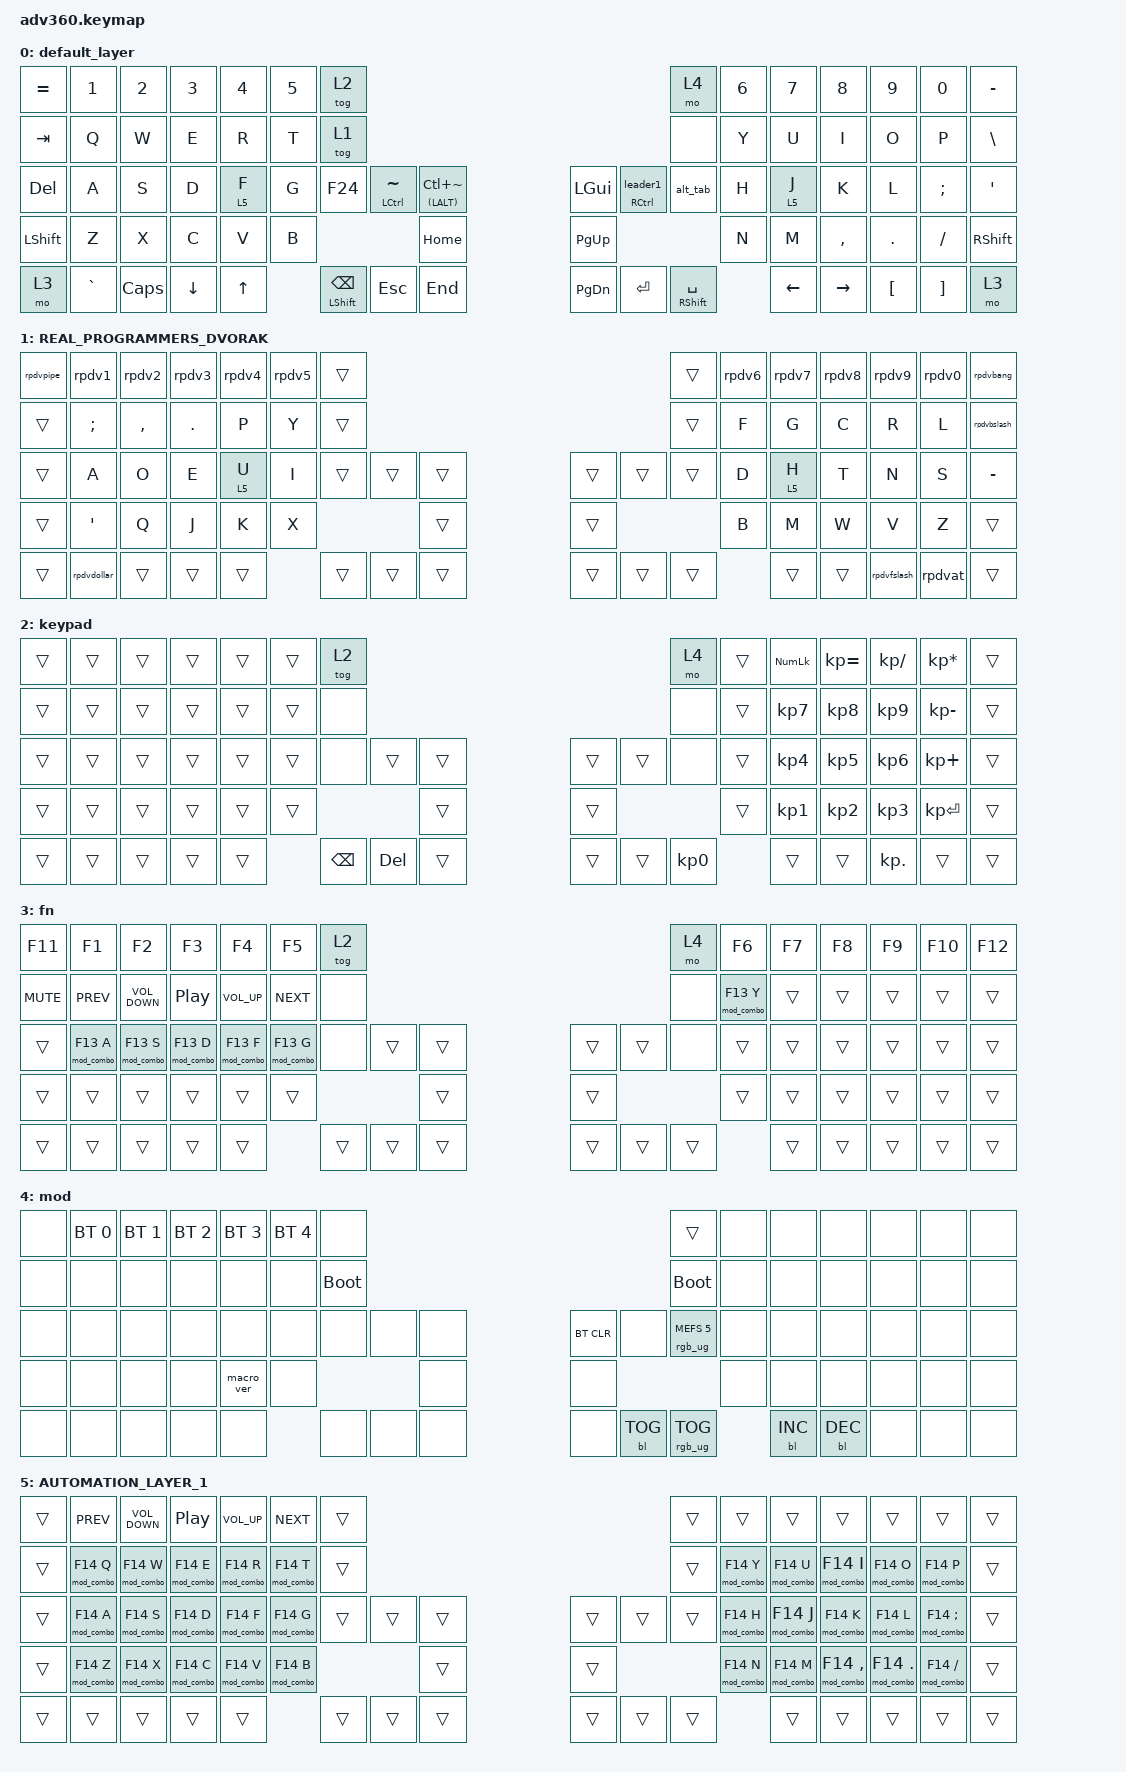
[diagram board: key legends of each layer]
#include <dt-bindings/zmk/stp.h>
#include <behaviors.dtsi>
#include <dt-bindings/zmk/backlight.h>
#include <dt-bindings/zmk/bt.h>
#include <dt-bindings/zmk/keys.h>
#include <dt-bindings/zmk/rgb.h>

/* DEFINES FOR ADV360 KEY POSITIONS */

#define KEYS_L 0 1 2 3 4 5 6 14 15 16 17 18 19 20 28 29 30 31 32 33 34 46 47 48 49 50 51 52 60 61 62 63 64
#define KEYS_R 7 8 9 10 11 12 13 21 22 23 24 25 26 27 35 36 37 38 39 40 41 53 54 55 56 57 58 59 71 72 73 74 75
#define THUMBS 65 66 67 68 69 70

/ {
    behaviors {
        #include "macros.dtsi"
      #include "version.dtsi"
      #ifndef VERSION_MACRO

        macro_ver: macro_ver {
            compatible = "zmk,behavior-macro";
            label = "macro_version";
            #binding-cells = <0>;
            bindings = <&kp RET>;
        };

        #endif = /* Mod Combo (to use e.g. F13-F24 as modifiers) */;

        mod_combo: mod_combo {
            compatible = "zmk,behavior-macro-two-param";
            label = "MOD_COMBO";
            #binding-cells = <2>;
            wait-ms = <0>;
            tap-ms = <0>;
            bindings =
                <&macro_param_1to1>,
                <&macro_press>,
                <&kp MACRO_PLACEHOLDER &macro_param_2to1>,
                <&macro_tap>,
                <&kp MACRO_PLACEHOLDER>,
                <&macro_pause_for_release>,
                <&macro_param_1to1>,
                <&macro_release>,
                <&kp MACRO_PLACEHOLDER>;
        };

        /* Leader 1 Implementation */
        /* Leader 1 Key */

        leader1: leader1 {
            compatible = "zmk,behavior-leader-key";
            #binding-cells = <0>;

            l1_us {
                sequence = <U S>;
                bindings = <&l1_2layer U S>;
            };
        };

        /* Leader 1 Mod Tap */

        l1_mt: leader1_mod_tap {
            compatible = "zmk,behavior-hold-tap";
            label = "LEADER1_MOD_TAP";
            #binding-cells = <2>;
            flavor = "hold-preferred";
            tapping-term-ms = <200>;
            bindings = <&kp>, <&leader1>;
        };

        l1_2layer: l1_2layer {
            compatible = "zmk,behavior-macro-two-param";
            label = "L1_2LAYER";
            #binding-cells = <2>;
            wait-ms = <0>;
            tap-ms = <0>;
            bindings =
                <&macro_press>,
                <&kp F16 &macro_param_1to1>,
                <&macro_press>,
                <&kp MACRO_PLACEHOLDER &macro_param_2to1>,
                <&macro_tap>,
                <&kp MACRO_PLACEHOLDER>,
                <&macro_pause_for_release>,
                <&macro_param_1to1>,
                <&macro_release>,
                <&kp MACRO_PLACEHOLDER>,
                <&macro_release>,
                <&kp F16>;
        };

        alt_tab: alt_tab {
            compatible = "zmk,behavior-macro";
            #binding-cells = <0>;
            label = "ALT_TAB";
            wait-ms = <30>;
            tap-ms = <30>;
            bindings =
                <&macro_press>,
                <&kp LALT>,
                <&macro_tap>,
                <&kp TAB>,
                <&macro_pause_for_release>,
                <&macro_release>,
                <&kp LALT>;
        };

        /* Generic Tap-Preferred Hold-Tap */

        tp: tap_preferred {
            compatible = "zmk,behavior-hold-tap";
            label = "TAP_PREFERRED";
            #binding-cells = <2>;
            flavor = "tap-preferred";
            tapping-term-ms = <200>;
            quick-tap-ms = <175>;
            bindings = <&kp>, <&kp>;
        };

        /* Urob's Timeless Homerow Mods */
        /* https://github.com/urob/zmk-config?tab=readme-ov-file#timeless-homerow-mods */

        hml: homerow_mods_left {
            compatible = "zmk,behavior-hold-tap";
            label = "HOMEROW_MODS_LEFT";
            #binding-cells = <2>;
            flavor = "balanced";
            tapping-term-ms = <280>;
            quick-tap-ms = <175>;
            require-prior-idle-ms = <150>;
            bindings = <&kp>, <&kp>;

            hold-trigger-key-positions = <KEYS_R THUMBS>;
            hold-trigger-on-release;
        };

        hmr: homerow_mods_right {
            compatible = "zmk,behavior-hold-tap";
            label = "HOMEROW_MODS_RIGHT";
            #binding-cells = <2>;
            flavor = "balanced";
            tapping-term-ms = <280>;
            quick-tap-ms = <175>;
            require-prior-idle-ms = <150>;
            bindings = <&kp>, <&kp>;

            hold-trigger-key-positions = <KEYS_L>;
            hold-trigger-on-release;
        };

        /* Thumb Cluster Shift Mods (Based on Urob) */

        tsl: thumb_shift_left {
            compatible = "zmk,behavior-hold-tap";
            label = "THUMB_SHIFT_LEFT";
            #binding-cells = <2>;
            flavor = "balanced";
            tapping-term-ms = <200>;
            quick-tap-ms = <175>;
            bindings = <&kp>, <&kp>;

            hold-trigger-key-positions = <KEYS_R>;
            hold-trigger-on-release;
        };

        tsr: thumb_shift_right {
            compatible = "zmk,behavior-hold-tap";
            label = "THUMB_SHIFT_RIGHT";
            #binding-cells = <2>;
            flavor = "balanced";
            tapping-term-ms = <200>;
            quick-tap-ms = <175>;
            bindings = <&kp>, <&kp>;

            hold-trigger-key-positions = <KEYS_L>;
            hold-trigger-on-release;
        };

        /* Real Programmer's Dvorak Mod Morphs */

        rpdvdollar: rpdvdollar {
            compatible = "zmk,behavior-mod-morph";
            label = "RPDVDOLLAR";
            bindings = <&kp DLLR>, <&kp TILDE>;

            #binding-cells = <0>;
            mods = <(MOD_LSFT|MOD_RSFT)>;
        };

        rpdv1: rpdv1 {
            compatible = "zmk,behavior-mod-morph";
            label = "RPDV1";
            bindings = <&kp PLUS>, <&kp KP_NUMBER_1>;

            #binding-cells = <0>;
            mods = <(MOD_LSFT|MOD_RSFT)>;
        };

        rpdv2: rpdv2 {
            compatible = "zmk,behavior-mod-morph";
            label = "RPDV2";
            bindings = <&kp LBKT>, <&kp KP_NUMBER_2>;

            #binding-cells = <0>;
            mods = <(MOD_LSFT|MOD_RSFT)>;
        };

        rpdv3: rpdv3 {
            compatible = "zmk,behavior-mod-morph";
            label = "RPDV3";
            bindings = <&kp LBRC>, <&kp KP_NUMBER_3>;

            #binding-cells = <0>;
            mods = <(MOD_LSFT|MOD_RSFT)>;
        };

        rpdv4: rpdv4 {
            compatible = "zmk,behavior-mod-morph";
            label = "RPDV4";
            bindings = <&kp LPAR>, <&kp KP_NUMBER_4>;

            #binding-cells = <0>;
            mods = <(MOD_LSFT|MOD_RSFT)>;
        };

        rpdv5: rpdv5 {
            compatible = "zmk,behavior-mod-morph";
            label = "RPDV5";
            bindings = <&kp AMPS>, <&kp KP_NUMBER_5>;

            #binding-cells = <0>;
            mods = <(MOD_LSFT|MOD_RSFT)>;
        };

        rpdv6: rpdv6 {
            compatible = "zmk,behavior-mod-morph";
            label = "RPDV6";
            bindings = <&kp EQUAL>, <&kp KP_NUMBER_6>;

            #binding-cells = <0>;
            mods = <(MOD_LSFT|MOD_RSFT)>;
        };

        rpdv7: rpdv7 {
            compatible = "zmk,behavior-mod-morph";
            label = "RPDV7";
            bindings = <&kp RPAR>, <&kp KP_NUMBER_7>;

            #binding-cells = <0>;
            mods = <(MOD_LSFT|MOD_RSFT)>;
        };

        rpdv8: rpdv8 {
            compatible = "zmk,behavior-mod-morph";
            label = "RPDV8";
            bindings = <&kp RBRC>, <&kp KP_NUMBER_8>;

            #binding-cells = <0>;
            mods = <(MOD_LSFT|MOD_RSFT)>;
        };

        rpdv9: rpdv9 {
            compatible = "zmk,behavior-mod-morph";
            label = "RPDV9";
            bindings = <&kp RBKT>, <&kp KP_NUMBER_9>;

            #binding-cells = <0>;
            mods = <(MOD_LSFT|MOD_RSFT)>;
        };

        rpdv0: rpdv0 {
            compatible = "zmk,behavior-mod-morph";
            label = "RPDV0";
            bindings = <&kp STAR>, <&kp KP_NUMBER_0>;

            #binding-cells = <0>;
            mods = <(MOD_LSFT|MOD_RSFT)>;
        };

        rpdvbang: rpdvbang {
            compatible = "zmk,behavior-mod-morph";
            label = "RPDVBANG";
            bindings = <&kp EXCL>, <&kp PRCNT>;

            #binding-cells = <0>;
            mods = <(MOD_LSFT|MOD_RSFT)>;
        };

        rpdvpipe: rpdvpipe {
            compatible = "zmk,behavior-mod-morph";
            label = "RPDVPIPE";
            bindings = <&kp PIPE>, <&kp GRAVE>;

            #binding-cells = <0>;
            mods = <(MOD_LSFT|MOD_RSFT)>;
        };

        rpdvfslash: rpdvfslash {
            compatible = "zmk,behavior-mod-morph";
            label = "RPDVFSLASH";
            bindings = <&kp FSLH>, <&kp QMARK>;

            #binding-cells = <0>;
            mods = <(MOD_LSFT|MOD_RSFT)>;
        };

        rpdvat: rpdvat {
            compatible = "zmk,behavior-mod-morph";
            label = "RPDVAT";
            bindings = <&kp AT>, <&kp CARET>;

            #binding-cells = <0>;
            mods = <(MOD_LSFT|MOD_RSFT)>;
        };

        rpdvbslash: rpdvbslash {
            compatible = "zmk,behavior-mod-morph";
            label = "RPDVBSLASH";
            bindings = <&kp BSLH>, <&kp HASH>;

            #binding-cells = <0>;
            mods = <(MOD_LSFT|MOD_RSFT)>;
        };
    };

    combos {
        compatible = "zmk,combos";

        combo_select_all {
            timeout-ms = <50>;
            key-positions = <65 29>;
            bindings = <&kp LC(A)>;
            layers = <0 1>;
        };

        combo_copy {
            timeout-ms = <50>;
            key-positions = <49 65>;
            bindings = <&kp LC(C)>;
            layers = <0 1>;
        };

        combo_paste {
            timeout-ms = <50>;
            key-positions = <50 65>;
            bindings = <&kp LC(V)>;
            layers = <0 1>;
        };
    };

    macros {
    };

    keymap {
        compatible = "zmk,keymap";

        default_layer {
            bindings = <
&kp EQUAL  &kp N1     &kp N2    &kp N3    &kp N4   &kp N5  &tog 2                                                                                      &mo 4             &kp N6  &kp N7    &kp N8     &kp N9    &kp N0    &kp MINUS
&kp TAB    &kp Q      &kp W     &kp E     &kp R    &kp T   &tog 1                                                                                      &none             &kp Y   &kp U     &kp I      &kp O     &kp P     &kp BSLH
&kp DEL    &kp A      &kp S     &kp D     &lt 5 F  &kp G   &kp F24               &tp LCTRL TILDE  &tp (LALT) LC(TILDE)      &kp LGUI   &l1_mt RCTRL 0  &alt_tab          &kp H   &lt 5 J   &kp K      &kp L     &kp SEMI  &kp SQT
&kp LSHFT  &kp Z      &kp X     &kp C     &kp V    &kp B                                          &kp HOME                  &kp PG_UP                                    &kp N   &kp M     &kp COMMA  &kp DOT   &kp FSLH  &kp RSHFT
&mo 3      &kp GRAVE  &kp CAPS  &kp DOWN  &kp UP           &tsl LSHFT BACKSPACE  &kp ESC          &kp END                   &kp PG_DN  &kp ENTER       &tsr RSHFT SPACE          &kp LEFT  &kp RIGHT  &kp LBKT  &kp RBKT  &mo 3
            >;
        };

        REAL_PROGRAMMERS_DVORAK {
            bindings = <
&rpdvpipe  &rpdv1       &rpdv2     &rpdv3   &rpdv4   &rpdv5  &trans                                      &trans  &rpdv6  &rpdv7   &rpdv8  &rpdv9       &rpdv0   &rpdvbang
&trans     &kp SEMI     &kp COMMA  &kp DOT  &kp P    &kp Y   &trans                                      &trans  &kp F   &kp G    &kp C   &kp R        &kp L    &rpdvbslash
&trans     &kp A        &kp O      &kp E    &lt 5 U  &kp I   &trans  &trans  &trans      &trans  &trans  &trans  &kp D   &lt 5 H  &kp T   &kp N        &kp S    &kp MINUS
&trans     &kp APOS     &kp Q      &kp J    &kp K    &kp X                   &trans      &trans                  &kp B   &kp M    &kp W   &kp V        &kp Z    &trans
&trans     &rpdvdollar  &trans     &trans   &trans           &trans  &trans  &trans      &trans  &trans  &trans          &trans   &trans  &rpdvfslash  &rpdvat  &trans
            >;
        };

        keypad {
            bindings = <
&trans  &trans  &trans  &trans  &trans  &trans  &tog 2                                         &mo 4      &trans  &kp KP_NUM  &kp KP_EQUAL  &kp KP_DIVIDE  &kp KP_MULTIPLY  &trans
&trans  &trans  &trans  &trans  &trans  &trans  &none                                          &none      &trans  &kp KP_N7   &kp KP_N8     &kp KP_N9      &kp KP_MINUS     &trans
&trans  &trans  &trans  &trans  &trans  &trans  &none     &trans   &trans      &trans  &trans  &none      &trans  &kp KP_N4   &kp KP_N5     &kp KP_N6      &kp KP_PLUS      &trans
&trans  &trans  &trans  &trans  &trans  &trans                     &trans      &trans                     &trans  &kp KP_N1   &kp KP_N2     &kp KP_N3      &kp KP_ENTER     &trans
&trans  &trans  &trans  &trans  &trans          &kp BSPC  &kp DEL  &trans      &trans  &trans  &kp KP_N0          &trans      &trans        &kp KP_DOT     &trans           &trans
            >;
        };

        fn {
            bindings = <
&kp F11     &kp F1            &kp F2             &kp F3            &kp F4            &kp F5            &tog 2                                      &mo 4   &kp F6            &kp F7  &kp F8  &kp F9  &kp F10  &kp F12
&kp C_MUTE  &kp C_PREV        &kp C_VOLUME_DOWN  &kp C_PLAY_PAUSE  &kp C_VOLUME_UP   &kp C_NEXT        &none                                       &none   &mod_combo F13 Y  &trans  &trans  &trans  &trans   &trans
&trans      &mod_combo F13 A  &mod_combo F13 S   &mod_combo F13 D  &mod_combo F13 F  &mod_combo F13 G  &none   &trans  &trans      &trans  &trans  &none   &trans            &trans  &trans  &trans  &trans   &trans
&trans      &trans            &trans             &trans            &trans            &trans                            &trans      &trans                  &trans            &trans  &trans  &trans  &trans   &trans
&trans      &trans            &trans             &trans            &trans                              &trans  &trans  &trans      &trans  &trans  &trans                    &trans  &trans  &trans  &trans   &trans
            >;
        };

        mod {
            bindings = <
&none  &bt BT_SEL 0  &bt BT_SEL 1  &bt BT_SEL 2  &bt BT_SEL 3  &bt BT_SEL 4  &none                                                  &trans                  &none  &none       &none       &none  &none  &none
&none  &none         &none         &none         &none         &none         &bootloader                                            &bootloader             &none  &none       &none       &none  &none  &none
&none  &none         &none         &none         &none         &none         &none        &none  &none      &bt BT_CLR  &none       &rgb_ug RGB_MEFS_CMD 5  &none  &none       &none       &none  &none  &none
&none  &none         &none         &none         &macro_ver    &none                             &none      &none                                           &none  &none       &none       &none  &none  &none
&none  &none         &none         &none         &none                       &none        &none  &none      &none       &bl BL_TOG  &rgb_ug RGB_TOG                &bl BL_INC  &bl BL_DEC  &none  &none  &none
            >;
        };

        AUTOMATION_LAYER_1 {
            bindings = <
&trans  &kp C_PREV        &kp C_VOLUME_DOWN  &kp C_PLAY_PAUSE  &kp C_VOLUME_UP   &kp C_NEXT        &trans                                      &trans  &trans            &trans            &trans                &trans                 &trans                    &trans
&trans  &mod_combo F14 Q  &mod_combo F14 W   &mod_combo F14 E  &mod_combo F14 R  &mod_combo F14 T  &trans                                      &trans  &mod_combo F14 Y  &mod_combo F14 U  &mod_combo F14 I      &mod_combo F14 O       &mod_combo F14 P          &trans
&trans  &mod_combo F14 A  &mod_combo F14 S   &mod_combo F14 D  &mod_combo F14 F  &mod_combo F14 G  &trans  &trans  &trans      &trans  &trans  &trans  &mod_combo F14 H  &mod_combo F14 J  &mod_combo F14 K      &mod_combo F14 L       &mod_combo F14 SEMICOLON  &trans
&trans  &mod_combo F14 Z  &mod_combo F14 X   &mod_combo F14 C  &mod_combo F14 V  &mod_combo F14 B                  &trans      &trans                  &mod_combo F14 N  &mod_combo F14 M  &mod_combo F14 COMMA  &mod_combo F14 PERIOD  &mod_combo F14 SLASH      &trans
&trans  &trans            &trans             &trans            &trans                              &trans  &trans  &trans      &trans  &trans  &trans                    &trans            &trans                &trans                 &trans                    &trans
            >;
        };
    };
};
